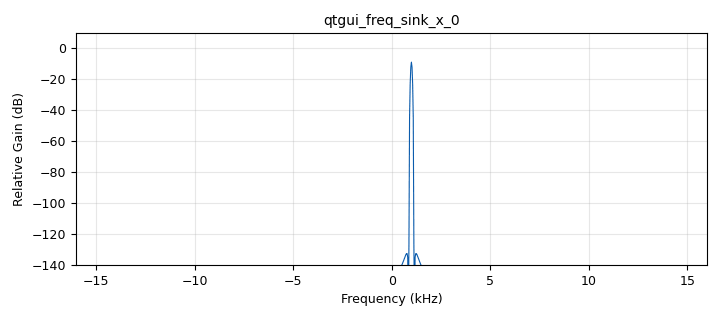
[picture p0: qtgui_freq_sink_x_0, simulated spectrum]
<?xml version='1.0' encoding='utf-8'?>
<?grc format='1' created='3.7.11'?>
<flow_graph>
<block>
<key>options</key>
<param><key>id</key><value>top_block</value></param>
<param><key>generate_options</key><value>qt_gui</value></param>
</block>
<block>
<key>variable_qtgui_range</key>
<param><key>id</key><value>freq</value></param>
<param><key>value</key><value>1e3</value></param>
<param><key>orient</key><value>Qt.Horizontal</value></param>
<param><key>start</key><value>1e3</value></param>
<param><key>step</key><value>1e3</value></param>
<param><key>stop</key><value>18e3</value></param>
</block>
<block>
<key>variable</key>
<param><key>id</key><value>samp_rate</value></param>
<param><key>value</key><value>32000</value></param>
</block>
<block>
<key>analog_sig_source_x</key>
<param><key>id</key><value>analog_sig_source_x_0</value></param>
<param><key>amp</key><value>1</value></param>
<param><key>freq</key><value>freq</value></param>
<param><key>offset</key><value>0</value></param>
<param><key>type</key><value>complex</value></param>
<param><key>samp_rate</key><value>samp_rate</value></param>
<param><key>waveform</key><value>analog.GR_COS_WAVE</value></param>
</block>
<block>
<key>blocks_message_debug</key>
<param><key>id</key><value>blocks_message_debug_0</value></param>
</block>
<block>
<key>blocks_throttle</key>
<param><key>id</key><value>blocks_throttle_0</value></param>
<param><key>samples_per_second</key><value>samp_rate</value></param>
<param><key>type</key><value>complex</value></param>
</block>
<block>
<key>qtgui_freq_sink_x</key>
<param><key>id</key><value>qtgui_freq_sink_x_0</value></param>
<param><key>bw</key><value>samp_rate</value></param>
<param><key>fc</key><value>0</value></param>
<param><key>fftsize</key><value>1024</value></param>
<param><key>showports</key><value>True</value></param>
<param><key>type</key><value>complex</value></param>
<param><key>wintype</key><value>firdes.WIN_BLACKMAN_hARRIS</value></param>
</block>
<block>
<key>spy_sensing</key>
<param><key>id</key><value>spy_sensing_0</value></param>
<param><key>fft_size</key><value>1024</value></param>
<param><key>method</key><value>energy</value></param>
<param><key>samp_rate</key><value>samp_rate</value></param>
</block>
<connection><source_block_id>analog_sig_source_x_0</source_block_id><sink_block_id>blocks_throttle_0</sink_block_id><source_key>0</source_key><sink_key>0</sink_key></connection>
<connection><source_block_id>analog_sig_source_x_0</source_block_id><sink_block_id>qtgui_freq_sink_x_0</sink_block_id><source_key>0</source_key><sink_key>0</sink_key></connection>
<connection><source_block_id>blocks_throttle_0</source_block_id><sink_block_id>spy_sensing_0</sink_block_id><source_key>0</source_key><sink_key>0</sink_key></connection>
<connection><source_block_id>spy_sensing_0</source_block_id><sink_block_id>blocks_message_debug_0</sink_block_id><source_key>out</source_key><sink_key>print</sink_key></connection>
</flow_graph>
